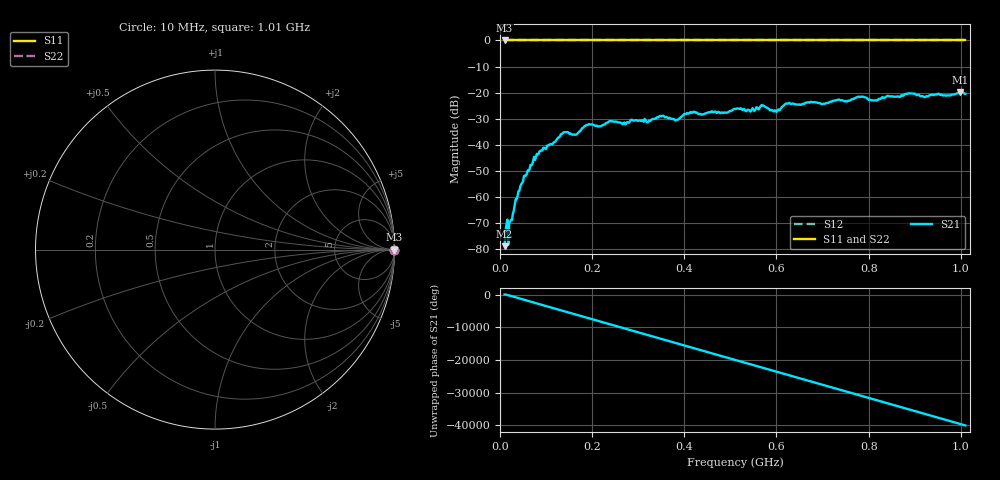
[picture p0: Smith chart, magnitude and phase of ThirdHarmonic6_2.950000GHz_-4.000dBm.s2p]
! 8/17/2025 8:17:30 AM
! C:\ANRITSUVNA\TEMP\TEMP.S2P
! CHANNEL.1
! TR.MEASUREMENT
! RAW.DATA
! RF.CORRECTION.OFF
! AVERAGING.OFF
! IF.BANDWIDTH: 5KHZ
! SWEEPTYPE:  FREQ.SWEEP(Linear)
! Reference Plane Port Info
! PORT:  PORT1  PORT2
! DISTANCE:  0  m  0  m
! TIME:  0  s  0  s
! PHASE.OFFSET:  0  deg.  0  deg.
! LOSS:  0  dB  0  dB
! REF.LOSS:  0  dB  0  dB
! REF.FREQ:  0  Hz  0  Hz
! Power Info
! POWER:  -20  dBm  -20  dBm
! EFF.POWER:  -20  dBm  -20  dBm
! SOURCE.ATTEN:  0  dB  0  dB
! TEST.ATTEN:  0  dB  0  dB
# GHZ S RI R 50.0
! FREQ.GHZ  S11RE  S11IM  S21RE  S21IM  S12RE  S12IM  S22RE  S22IM
!; PortSelection: Port_12
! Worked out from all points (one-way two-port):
!   501 points, 10 MHz to 1.01 GHz, reference 50 ohm
!   highest |S21| = -19.74 dB at 998 MHz (marker M1); lowest = -78.8 dB at 10 MHz (marker M2)
!   lowest |S11| = 0.0 dB at 10 MHz (marker M3)
!   |S11| at or under -10 dB: nowhere
!   |S22| runs from 0.0 to 0.0 dB; largest |S21 - S12| = 1.1
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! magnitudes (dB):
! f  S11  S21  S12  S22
! 10 MHz  0.0  -78.8  0.0  0.0
! 16 MHz  0.0  -68.6  0.0  0.0
! 22 MHz  0.0  -69.3  0.0  0.0
! 36 MHz  0.0  -60.8  0.0  0.0
! 48 MHz  0.0  -54.6  0.0  0.0
! 76 MHz  0.0  -45.8  0.0  0.0
! 136 MHz  0.0  -35.5  0.0  0.0
! 164 MHz  0.0  -36.1  0.0  0.0
! 178 MHz  0.0  -33.6  0.0  0.0
! 192 MHz  0.0  -32.2  0.0  0.0
! 322 MHz  0.0  -31.1  0.0  0.0
! 344 MHz  0.0  -29.4  0.0  0.0
! 384 MHz  0.0  -30.4  0.0  0.0
! 418 MHz  0.0  -27.7  0.0  0.0
! 510 MHz  0.0  -26.2  0.0  0.0
! 570 MHz  0.0  -24.8  0.0  0.0
! 598 MHz  0.0  -26.9  0.0  0.0
! 624 MHz  0.0  -24.2  0.0  0.0
! 678 MHz  0.0  -23.6  0.0  0.0
! 844 MHz  0.0  -21.3  0.0  0.0
! 998 MHz  0.0  -19.7  0.0  0.0
! 1.01 GHz  0.0  -20.4  0.0  0.0
